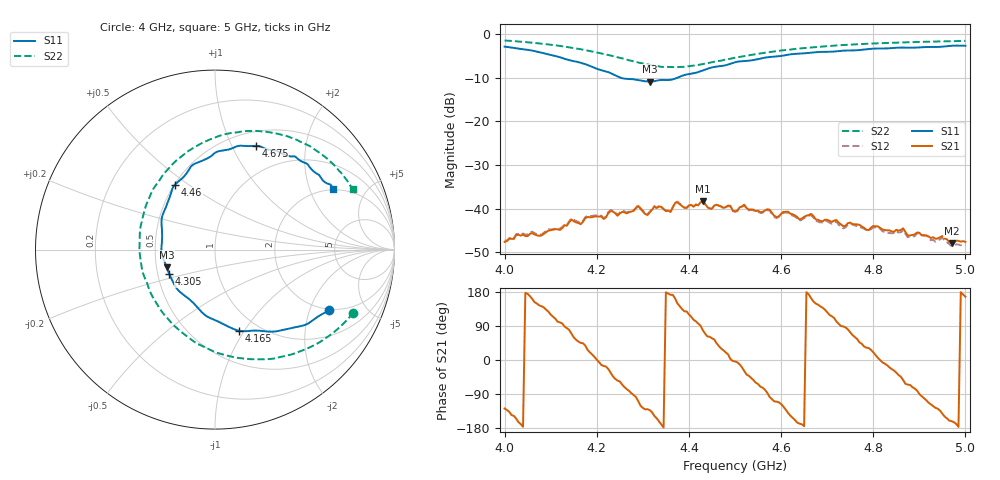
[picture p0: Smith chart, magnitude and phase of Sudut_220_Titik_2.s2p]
# Hz S RI R 50
! CMT, C1220, 16058040, 17.2.0/1
! Date: 15/08/2018 11:43:16
! Data: Format (Calibration Info)
! Freq  S11: Re/Im (F2)  S21: Re/Im (F2)  S12: Re/Im (F2)  S22: Re/Im (F2)
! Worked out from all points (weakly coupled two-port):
!   201 points, 4 GHz to 5 GHz, reference 50 ohm
!   highest |S21| = -38.26 dB at 4.43 GHz (marker M1); lowest = -47.9 dB at 4.97 GHz (marker M2)
!   lowest |S11| = -10.9 dB at 4.315 GHz (marker M3), VSWR 1.80, Z = 28.3 - j6.04 ohm
!   |S11| at or under -10 dB: 4.253 GHz to 4.375 GHz (122.1 MHz wide, 2.83 % of centre)
!   |S22| runs from -7.6 to -1.4 dB; largest |S21 - S12| = 0.00043
!   S11 on the Smith chart (normalised r, x): 4 GHz: 1.95, -2.74; 4.165 GHz: 0.81, -0.94; 4.305 GHz: 0.58, -0.17; 4.46 GHz: 0.50, +0.45; 4.675 GHz: 0.66, +1.24; 5 GHz: 1.97, +2.91
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4e9  0.6362 -0.3375  -0.00258 -0.00328  -0.00246 -0.00354  0.7706 -0.3517
4.12e9  0.2953 -0.4567  -0.000918 0.00565  -0.00109 0.00581  0.456 -0.5744
4.145e9  0.2065 -0.4516  0.00264 0.00705  0.00251 0.00736  0.3623 -0.5984
4.165e9  0.1319 -0.4516  0.00469 0.00473  0.00477 0.00493  0.2832 -0.6109
4.17e9  0.1164 -0.4469  0.00507 0.00494  0.00521 0.00509  0.2622 -0.6115
4.29e9  -0.2303 -0.1879  -0.00344 -0.0102  -0.00354 -0.0105  -0.2462 -0.4043
4.305e9  -0.2538 -0.1379  -0.00564 -0.00665  -0.00576 -0.00674  -0.2936 -0.3489
4.315e9  -0.2693 -0.0979  -0.00611 -0.00671  -0.0063 -0.00687  -0.3219 -0.3061
4.335e9  -0.2952 -0.0331  -0.0101 -0.0033  -0.0102 -0.00325  -0.3692 -0.2151
4.36e9  -0.2953 0.0535  -0.00911 0.00125  -0.00922 0.00131  -0.4094 -0.093
4.375e9  -0.2956 0.1135  -0.0102 0.00605  -0.0103 0.00626  -0.4191 -0.0216
4.43e9  -0.2537 0.2887  0.00232 0.012  0.00254 0.0118  -0.3861 0.2416
4.46e9  -0.2224 0.3626  0.00797 0.00776  0.00819 0.00755  -0.3269 0.3622
4.5e9  -0.1395 0.4548  0.00932 -0.000609  0.00918 -0.000642  -0.2251 0.4873
4.52e9  -0.109 0.4799  0.00974 -0.00539  0.00956 -0.00548  -0.1681 0.5344
4.59e9  0.0505 0.5523  -0.00272 -0.00756  -0.00266 -0.00734  0.0409 0.6382
4.67e9  0.2182 0.5775  -0.00749 0.00354  -0.00709 0.00357  0.2601 0.6582
4.675e9  0.2264 0.5781  -0.0065 0.00387  -0.00621 0.00375  0.2725 0.6582
4.835e9  0.4848 0.4897  0.00534 -0.00187  0.005 -0.0017  0.5865 0.5363
4.95e9  0.6143 0.374  -0.00382 -0.00302  -0.00367 -0.00286  0.7235 0.4003
4.97e9  0.6404 0.3637  -0.00382 -0.00129  -0.00354 -0.00117  0.741 0.3774
5e9  0.6564 0.3361  -0.00407 0.000951  -0.00382 0.000726  0.7663 0.3369
